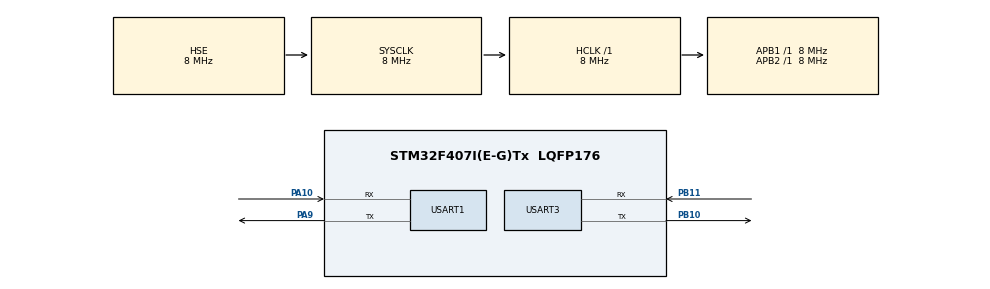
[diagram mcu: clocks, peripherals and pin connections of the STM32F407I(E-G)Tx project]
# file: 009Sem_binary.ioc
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Mcu.Family=STM32F4
RCC.PLLSourceVirtual=RCC_PLLSOURCE_HSE
VP_SYS_VS_tim6.Mode=TIM6
PH0-OSC_IN.Signal=RCC_OSC_IN
RCC.CortexFreq_Value=8000000
PA10.Mode=Asynchronous
PB10.Mode=Asynchronous
NVIC.TIM6_DAC_IRQn=true\:0\:0\:false\:false\:true\:false\:true
PB11.Signal=USART3_RX
RCC.SYSCLKSource=RCC_SYSCLKSOURCE_HSE
ProjectManager.StackSize=0x400
PA9.Mode=Asynchronous
PB11.Mode=Asynchronous
ProjectManager.TargetToolchain=STM32CubeIDE
RCC.HCLKFreq_Value=8000000
RCC.APB2TimFreq_Value=8000000
PA9.Signal=USART1_TX
RCC.LSE_VALUE=32768
RCC.AHBFreq_Value=8000000
PH0-OSC_IN.Mode=HSE-External-Oscillator
PB10.Signal=USART3_TX
RCC.HSE_VALUE=8000000
board=custom
RCC.VCOOutputFreq_Value=96000000
RCC.APB2Freq_Value=8000000
PH1-OSC_OUT.Signal=RCC_OSC_OUT
Mcu.Name=STM32F407I(E-G)Tx
PH1-OSC_OUT.Mode=HSE-External-Oscillator
RCC.48MHZClocksFreq_Value=24000000
RCC.SYSCLKFreq_VALUE=8000000
Mcu.Package=LQFP176
NVIC.TimeBase=TIM6_DAC_IRQn
USART3.VirtualMode=VM_ASYNC
USART1.VirtualMode=VM_ASYNC
NVIC.TimeBaseIP=TIM6
PA10.Signal=USART1_RX
ProjectManager.HeapSize=0x200
RCC.HSI_VALUE=16000000
NVIC.PriorityGroup=NVIC_PRIORITYGROUP_4
RCC.APB1TimFreq_Value=8000000
RCC.APB1Freq_Value=8000000

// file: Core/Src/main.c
/* USER CODE BEGIN Header */
/**
  ******************************************************************************
  * @file           : main.c
  * @brief          : Main program body
  ******************************************************************************
  * @attention
  *
  * <h2><center>&copy; Copyright (c) 2021 STMicroelectronics.
  * All rights reserved.</center></h2>
  *
  * This software component is licensed by ST under BSD 3-Clause license,
  * the "License"; You may not use this file except in compliance with the
  * License. You may obtain a copy of the License at:
  *                        opensource.org/licenses/BSD-3-Clause
  *
  ******************************************************************************
  */
/* USER CODE END Header */
#include "main.h"

/* USER CODE BEGIN Includes */
#include <stdio.h>
#include <stdlib.h>
#include <string.h>
#include "uart_task.h"
#include "FreeRTOS.h"
#include "task.h"
#include "utility.h"
#include "queue.h"
#include "timers.h"
#include "semphr.h"
#include "queue.h"
/* USER CODE END Includes */

UART_HandleTypeDef huart1;
UART_HandleTypeDef huart3;

/* USER CODE BEGIN PV */
char usr_msg[250]={0};
TaskHandle_t xTaskHandleM=NULL;
TaskHandle_t xTaskHandleE=NULL;
xSemaphoreHandle xWork;
xQueueHandle xWorkQueue;
/* USER CODE END PV */

void SystemClock_Config(void);
static void MX_GPIO_Init(void);
static void MX_USART1_UART_Init(void);
static void MX_USART3_UART_Init(void);
/* USER CODE BEGIN PFP */
static void vManagerTask( void *pvParameters );
static void vEmployeeTask( void *pvParameters );
/* USER CODE END PFP */

int main(void)
{

  /* MCU Configuration--------------------------------------------------------*/

  /* Reset of all peripherals, Initializes the Flash interface and the Systick. */
  HAL_Init();

  /* USER CODE BEGIN Init */
  xWork = xSemaphoreCreateBinary();
  xWorkQueue = xQueueCreate( 1, sizeof( unsigned int ) );
  /* USER CODE END Init */

  /* Configure the system clock */
  SystemClock_Config();

  /* Initialize all configured peripherals */
  MX_GPIO_Init();
  MX_USART1_UART_Init();
  MX_USART3_UART_Init();
  /* USER CODE BEGIN 2 */
  if( (xWork != NULL) && (xWorkQueue != NULL) )
  {
	  /* Create the 'Manager' task.  This is the task that will be synchronized with the Employee task.  The Manager task is created with a high priority  */
      xTaskCreate( vManagerTask, "Manager", 500, NULL, 3, NULL );

      /* Create a employee task with less priority than manager */
      xTaskCreate( vEmployeeTask, "Employee", 500, NULL, 1, NULL );

      /* Start the scheduler so the created tasks start executing. */
      vTaskStartScheduler();
  }

  /* USER CODE END 2 */

  /* Infinite loop */
  while (1)
  {

  }
}

void SystemClock_Config(void)
{
  RCC_OscInitTypeDef RCC_OscInitStruct = {0};
  RCC_ClkInitTypeDef RCC_ClkInitStruct = {0};

  /** Configure the main internal regulator output voltage
  */
  __HAL_RCC_PWR_CLK_ENABLE();
  __HAL_PWR_VOLTAGESCALING_CONFIG(PWR_REGULATOR_VOLTAGE_SCALE1);
  /** Initializes the RCC Oscillators according to the specified parameters
  * in the RCC_OscInitTypeDef structure.
  */
  RCC_OscInitStruct.OscillatorType = RCC_OSCILLATORTYPE_HSE;
  RCC_OscInitStruct.HSEState = RCC_HSE_ON;
  RCC_OscInitStruct.PLL.PLLState = RCC_PLL_NONE;
  if (HAL_RCC_OscConfig(&RCC_OscInitStruct) != HAL_OK)
  {
    Error_Handler();
  }
  /** Initializes the CPU, AHB and APB buses clocks
  */
  RCC_ClkInitStruct.ClockType = RCC_CLOCKTYPE_HCLK|RCC_CLOCKTYPE_SYSCLK
                              |RCC_CLOCKTYPE_PCLK1|RCC_CLOCKTYPE_PCLK2;
  RCC_ClkInitStruct.SYSCLKSource = RCC_SYSCLKSOURCE_HSE;
  RCC_ClkInitStruct.AHBCLKDivider = RCC_SYSCLK_DIV1;
  RCC_ClkInitStruct.APB1CLKDivider = RCC_HCLK_DIV1;
  RCC_ClkInitStruct.APB2CLKDivider = RCC_HCLK_DIV1;

  if (HAL_RCC_ClockConfig(&RCC_ClkInitStruct, FLASH_LATENCY_0) != HAL_OK)
  {
    Error_Handler();
  }
}

static void MX_USART1_UART_Init(void)
{

  huart1.Instance = USART1;
  huart1.Init.BaudRate = 115200;
  huart1.Init.WordLength = UART_WORDLENGTH_8B;
  huart1.Init.StopBits = UART_STOPBITS_1;
  huart1.Init.Parity = UART_PARITY_NONE;
  huart1.Init.Mode = UART_MODE_TX_RX;
  huart1.Init.HwFlowCtl = UART_HWCONTROL_NONE;
  huart1.Init.OverSampling = UART_OVERSAMPLING_16;
  if (HAL_UART_Init(&huart1) != HAL_OK)
  {
    Error_Handler();
  }

}

static void MX_USART3_UART_Init(void)
{

  huart3.Instance = USART3;
  huart3.Init.BaudRate = 115200;
  huart3.Init.WordLength = UART_WORDLENGTH_8B;
  huart3.Init.StopBits = UART_STOPBITS_1;
  huart3.Init.Parity = UART_PARITY_NONE;
  huart3.Init.Mode = UART_MODE_TX_RX;
  huart3.Init.HwFlowCtl = UART_HWCONTROL_NONE;
  huart3.Init.OverSampling = UART_OVERSAMPLING_16;
  if (HAL_UART_Init(&huart3) != HAL_OK)
  {
    Error_Handler();
  }

}

static void MX_GPIO_Init(void)
{

  /* GPIO Ports Clock Enable */
  __HAL_RCC_GPIOH_CLK_ENABLE();
  __HAL_RCC_GPIOB_CLK_ENABLE();
  __HAL_RCC_GPIOA_CLK_ENABLE();

}

/* USER CODE BEGIN 4 */
void vManagerTask( void *pvParameters )
{

	 unsigned int xWorkTicketId;
	 portBASE_TYPE xStatus;

   /* The semaphore is created in the 'empty' state, meaning the semaphore must
	 first be given using the xSemaphoreGive() API function before it
	 can subsequently be taken (obtained) */
   xSemaphoreGive( xWork);

   for( ;; )
   {
       /* get a work ticket id(some random number) */
       xWorkTicketId = ( rand() & 0x1FF );

		/* Sends work ticket id to the work queue */
		xStatus = xQueueSend( xWorkQueue, &xWorkTicketId , portMAX_DELAY ); //Post an item on back of the queue

		if( xStatus != pdPASS )
		{
			sprintf(usr_msg,"Could not send to the queue.\r\n");
			debugPrint(&huart1, usr_msg);

		}else
		{
			/* Manager notifying the employee by "Giving" semaphore */
			xSemaphoreGive( xWork);
			/* after assigning the work , just yield the processor because nothing to do */
			taskYIELD();

		}
   }
}

void EmployeeDoWork(unsigned char TicketId)
{
	/* implement the work according to TickedID */
	sprintf(usr_msg,"Employee task : Working on Ticked id : %d\r\n",TicketId);
	debugPrint(&huart1, usr_msg);
	vTaskDelay(TicketId);
}

static void vEmployeeTask( void *pvParameters )
{

	unsigned char xWorkTicketId;
	portBASE_TYPE xStatus;
    /* As per most tasks, this task is implemented within an infinite loop. */
    for( ;; )
    {
		/* First Employee tries to take the semaphore, if it is available that means there is a task assigned by manager, otherwise employee task will be blocked */
		xSemaphoreTake( xWork, 0 );

		/* get the ticket id from the work queue */
		xStatus = xQueueReceive( xWorkQueue, &xWorkTicketId, 0 );

		if( xStatus == pdPASS )
		{
		  /* employee may decode the xWorkTicketId in this function to do the work*/
			EmployeeDoWork(xWorkTicketId);
		}
		else
		{
			/* We did not receive anything from the queue.  This must be an error as this task should only run when the manager assigns at least one work. */
			sprintf(usr_msg,"Employee task : Queue is empty , nothing to do.\r\n");
			debugPrint(&huart1, usr_msg);
		}
    }
}

/* USER CODE END 4 */

 /**
  * @brief  Period elapsed callback in non blocking mode
  * @note   This function is called  when TIM6 interrupt took place, inside
  * HAL_TIM_IRQHandler(). It makes a direct call to HAL_IncTick() to increment
  * a global variable "uwTick" used as application time base.
  * @param  htim : TIM handle
  * @retval None
  */
void HAL_TIM_PeriodElapsedCallback(TIM_HandleTypeDef *htim)
{
  if (htim->Instance == TIM6) {
    HAL_IncTick();
  }
}

void Error_Handler(void)
{
  __disable_irq();
  while (1)
  {
  }
}

/************************ (C) COPYRIGHT STMicroelectronics *****END OF FILE****/
